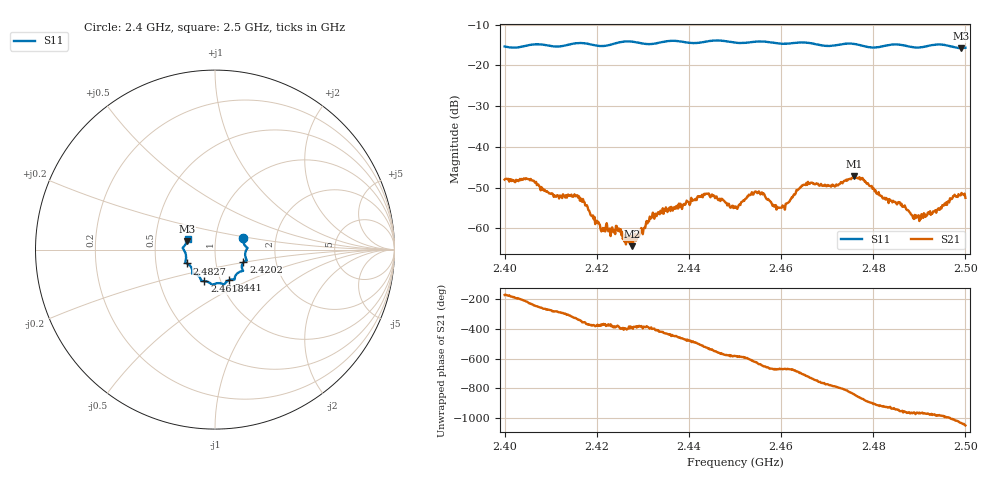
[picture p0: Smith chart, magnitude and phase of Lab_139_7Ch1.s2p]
# Hz S RI R 50
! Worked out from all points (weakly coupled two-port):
!   601 points, 2.4 GHz to 2.5 GHz, reference 50 ohm
!   highest |S21| = -47.28 dB at 2.4758 GHz (marker M1); lowest = -64.4 dB at 2.4277 GHz (marker M2)
!   lowest |S11| = -15.8 dB at 2.499 GHz (marker M3), VSWR 1.39, Z = 36.4 + j3.48 ohm
!   |S11| at or under -10 dB: start of sweep to end of sweep
!   S12 and S22 are empty: the file has one direction only
!   S11 on the Smith chart (normalised r, x): 2.4 GHz: 1.36, +0.18; 2.4202 GHz: 1.36, -0.20; 2.441 GHz: 1.10, -0.39; 2.4618 GHz: 0.84, -0.30; 2.4827 GHz: 0.72, -0.12; 2.5 GHz: 0.73, +0.09
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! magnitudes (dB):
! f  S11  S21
! 2.4 GHz  -15.4  -48.1
! 2.4052 GHz  -15.1  -47.9
! 2.4107 GHz  -15.4  -52.3
! 2.4167 GHz  -14.5  -53.3
! 2.4202 GHz  -15.2  -58.7
! 2.4247 GHz  -14.4  -60.7
! 2.4277 GHz  -14.2  -64.4
! 2.4333 GHz  -14.5  -56.0
! 2.441 GHz  -14.6  -53.1
! 2.4438 GHz  -14.2  -51.5
! 2.45 GHz  -14.5  -54.9
! 2.4547 GHz  -14.2  -51.1
! 2.4595 GHz  -14.7  -55.0
! 2.4618 GHz  -14.7  -53.4
! 2.4667 GHz  -14.6  -48.8
! 2.4718 GHz  -15.1  -49.6
! 2.4758 GHz  -14.8  -47.3
! 2.4827 GHz  -15.2  -52.9
! 2.4833 GHz  -15.0  -53.8
! 2.4903 GHz  -15.6  -57.7
! 2.499 GHz  -15.8  -51.9
! 2.5 GHz  -15.7  -52.5
